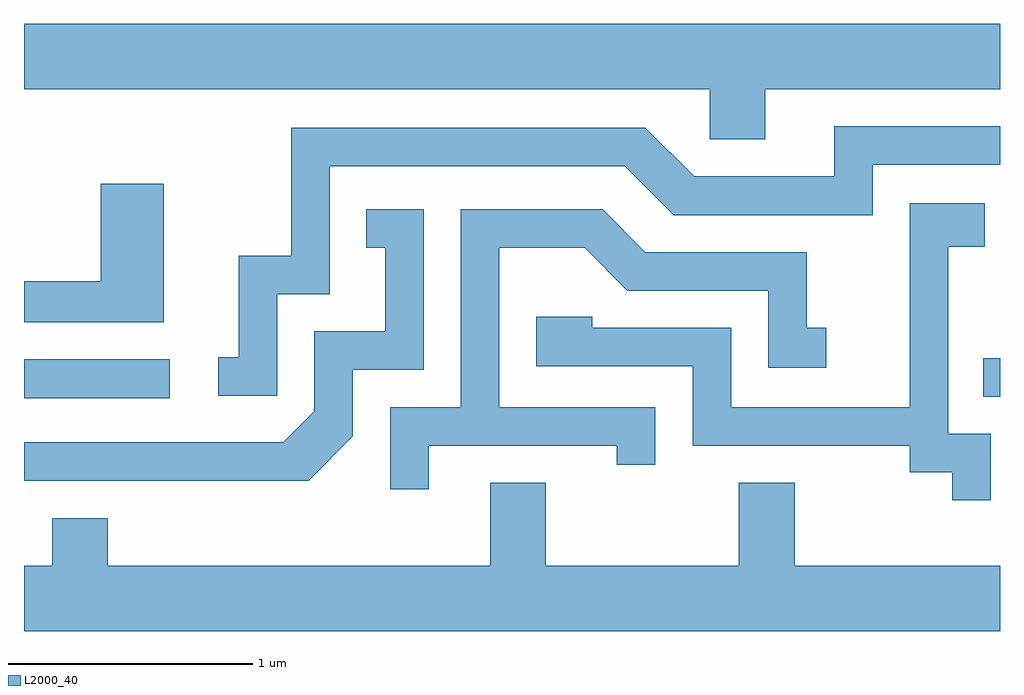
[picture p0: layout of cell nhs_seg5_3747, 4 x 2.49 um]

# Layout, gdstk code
import gdstk
lib = gdstk.Library(unit=1e-6, precision=1e-09)
def R(c, l, rs):  # rectangles x0, y0, x1, y1
    for r in rs: c.add(gdstk.rectangle(r[:2], r[2:], *l))
def P(c, l, *ps):  # polygons
    for p in ps: c.add(gdstk.Polygon(p, *l))
L2000_40 = (2000, 40)

nhs_seg5_3747 = lib.new_cell('nhs_seg5_3747')
R(nhs_seg5_3747, L2000_40, [(295.611,1502.151,296.208,1502.309), (299.543,1502.156,299.611,1502.314)])
P(nhs_seg5_3747, L2000_40, [(298.649,1503.416),(299.611,1503.416),(299.611,1503.684),(295.611,1503.684),(295.611,1503.416),(298.421,1503.416),(298.421,1503.211),(298.649,1503.211)],
  [(296.649,1502.576),(296.864,1502.576),(296.864,1503.101),(298.074,1503.101),(298.274,1502.901),(299.089,1502.901),(299.089,1503.106),(299.611,1503.106),(299.611,1503.264),(298.931,1503.264),(298.931,1503.059),(298.357,1503.059),(298.157,1503.259),(296.706,1503.259),(296.706,1502.734),(296.491,1502.734),(296.491,1502.319),(296.408,1502.319),(296.408,1502.161),(296.649,1502.161)],
  [(296.184,1503.029),(295.926,1503.029),(295.926,1502.629),(295.611,1502.629),(295.611,1502.461),(296.184,1502.461)],
  [(299.574,1502.004),(299.399,1502.004),(299.399,1502.771),(299.549,1502.771),(299.549,1502.949),(299.241,1502.949),(299.241,1502.114),(298.509,1502.114),(298.509,1502.439),(297.939,1502.439),(297.939,1502.484),(297.711,1502.484),(297.711,1502.281),(298.351,1502.281),(298.351,1501.956),(299.241,1501.956),(299.241,1501.846),(299.416,1501.846),(299.416,1501.733),(299.574,1501.733)],
  [(297.269,1501.956),(298.041,1501.956),(298.041,1501.878),(298.199,1501.878),(298.199,1502.114),(297.559,1502.114),(297.559,1502.766),(297.909,1502.766),(298.084,1502.591),(298.661,1502.591),(298.661,1502.276),(298.898,1502.276),(298.898,1502.439),(298.819,1502.439),(298.819,1502.749),(298.157,1502.749),(297.982,1502.924),(297.401,1502.924),(297.401,1502.114),(297.111,1502.114),(297.111,1501.778),(297.269,1501.778)],
  [(296.959,1501.994),(296.959,1502.266),(297.249,1502.266),(297.249,1502.924),(297.013,1502.924),(297.013,1502.766),(297.091,1502.766),(297.091,1502.424),(296.801,1502.424),(296.801,1502.097),(296.674,1501.969),(295.611,1501.969),(295.611,1501.811),(296.777,1501.811)],
  [(299.611,1501.464),(298.769,1501.464),(298.769,1501.804),(298.541,1501.804),(298.541,1501.464),(297.749,1501.464),(297.749,1501.804),(297.521,1501.804),(297.521,1501.464),(295.954,1501.464),(295.954,1501.659),(295.726,1501.659),(295.726,1501.464),(295.611,1501.464),(295.611,1501.196),(299.611,1501.196)])

lib.write_gds('nhs_seg5_3747.gds')
